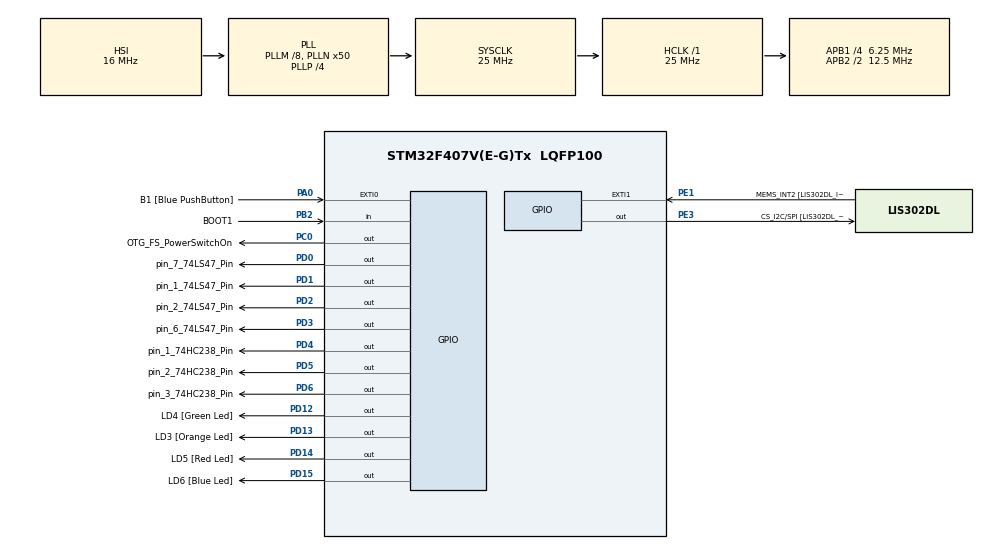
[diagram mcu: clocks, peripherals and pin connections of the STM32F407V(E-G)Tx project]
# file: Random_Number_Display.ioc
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Mcu.Family=STM32F4
PA11.GPIO_Speed=GPIO_SPEED_FREQ_LOW
PC3.GPIO_Mode=GPIO_MODE_AF_PP
PD12.GPIO_Label=LD4 [Green Led]
PH0-OSC_IN.Signal=RCC_OSC_IN
RCC.CortexFreq_Value=25000000
PC10.GPIO_PuPd=GPIO_NOPULL
PB10.GPIO_Speed=GPIO_SPEED_FREQ_LOW
PB6.GPIO_Mode=GPIO_MODE_AF_OD
PB10.GPIO_PuPd=GPIO_NOPULL
PA10.GPIO_PuPd=GPIO_NOPULL
PD15.GPIO_Speed=GPIO_SPEED_FREQ_LOW
PC10.Signal=I2S3_CK
PC12.Signal=I2S3_SD
PA14.GPIO_Label=SWCLK
PA7.GPIO_Mode=GPIO_MODE_AF_PP
PC0.GPIO_Label=OTG_FS_PowerSwitchOn
PD0.GPIO_Label=pin_7_74LS47_Pin
PA6.GPIO_Label=SPI1_MISO [LIS302DL_SDO]
PB6.GPIO_Label=Audio_SCL [CS43L22_SCL]
PC10.GPIO_Speed=GPIO_SPEED_FREQ_LOW
PA11.GPIO_PuPd=GPIO_NOPULL
PD6.GPIO_Label=pin_3_74HC238_Pin
PC15-OSC32_OUT.GPIO_Label=PC15-OSC32_OUT
PC3.GPIO_Speed=GPIO_SPEED_FREQ_LOW
RCC.SYSCLKSource=RCC_SYSCLKSOURCE_PLLCLK
ProjectManager.StackSize=0x400
PA6.GPIO_Mode=GPIO_MODE_AF_PP
PD13.Signal=GPIO_Output
PD14.GPIO_Speed=GPIO_SPEED_FREQ_LOW
PA12.Signal=USB_OTG_FS_DP
RCC.HCLKFreq_Value=25000000
PD4.Signal=GPIO_Output
RCC.APB2TimFreq_Value=25000000
PB6.Signal=I2C1_SCL
PC7.Signal=I2S3_MCK
PC3.Signal=I2S2_SD
PD0.Signal=GPIO_Output
PE1.Signal=GPXTI1
RCC.AHBFreq_Value=25000000
PH0-OSC_IN.GPIO_Label=PH0-OSC_IN
PA9.GPIO_Mode=GPIO_MODE_INPUT
RCC.HSE_VALUE=8000000
PA4.GPIO_PuPd=GPIO_NOPULL
PB2.Signal=GPIO_Input
PA4.GPIO_Speed=GPIO_SPEED_FREQ_LOW
PD1.GPIO_Label=pin_1_74LS47_Pin
PA6.GPIO_PuPd=GPIO_NOPULL
PA5.GPIO_PuPd=GPIO_NOPULL
PA10.GPIO_Label=OTG_FS_ID
PC7.GPIO_Mode=GPIO_MODE_AF_PP
PD14.GPIO_PuPd=GPIO_NOPULL
PB2.GPIO_PuPd=GPIO_NOPULL
PD13.GPIO_Label=LD3 [Orange Led]
Mcu.Package=LQFP100
PB9.Signal=I2C1_SDA
PA6.Signal=SPI1_MISO
PD12.Signal=GPIO_Output
PD5.GPIO_Label=pin_2_74HC238_Pin
PD15.GPIO_PuPd=GPIO_NOPULL
PA10.Signal=USB_OTG_FS_ID
PB9.GPIO_PuPd=GPIO_NOPULL
PA10.GPIO_Speed=GPIO_SPEED_FREQ_LOW
RCC.APB2CLKDivider=RCC_HCLK_DIV2
PB9.GPIO_Speed=GPIO_SPEED_FREQ_LOW
RCC.APB1TimFreq_Value=12500000
PC14-OSC32_IN.GPIO_Label=PC14-OSC32_IN
PD3.GPIO_Label=pin_6_74LS47_Pin
PC12.GPIO_PuPd=GPIO_NOPULL
PD3.GPIO_PuPd=GPIO_PULLDOWN
PA6.GPIO_Speed=GPIO_SPEED_FREQ_LOW
PC0.GPIO_PuPd=GPIO_NOPULL
PA12.GPIO_PuPd=GPIO_NOPULL
PD6.Signal=GPIO_Output
PA4.GPIO_Label=I2S3_WS [CS43L22_LRCK]
PD15.Signal=GPIO_Output
PC0.PinState=GPIO_PIN_SET
PA12.GPIO_Speed=GPIO_SPEED_FREQ_LOW
PB3.GPIO_Label=SWO
PD12.GPIO_Speed=GPIO_SPEED_FREQ_LOW
PD15.GPIO_Label=LD6 [Blue Led]
PB9.GPIO_Label=Audio_SDA [CS43L22_SDA]
PC10.GPIO_Label=I2S3_SCK [CS43L22_SCLK]
PD2.GPIO_PuPd=GPIO_PULLDOWN
PA9.GPIO_Label=VBUS_FS
PB6.GPIO_PuPd=GPIO_NOPULL
PD3.Signal=GPIO_Output
PD1.Signal=GPIO_Output
PA11.GPIO_Label=OTG_FS_DM
PE1.GPIO_PuPd=GPIO_NOPULL
PD5.Signal=GPIO_Output
PD1.GPIO_PuPd=GPIO_PULLDOWN
PC0.Signal=GPIO_Output
PE1.GPIO_ModeDefaultEXTI=GPIO_MODE_EVT_RISING
RCC.APB1CLKDivider=RCC_HCLK_DIV4
PC14-OSC32_IN.Signal=RCC_OSC32_IN
PA9.GPIO_PuPd=GPIO_NOPULL
PA12.GPIO_Label=OTG_FS_DP
PA0-WKUP.GPIO_Label=B1 [Blue PushButton]
PA0-WKUP.Signal=GPXTI0
PA10.GPIO_Mode=GPIO_MODE_AF_PP
PA13.Signal=SYS_JTMS-SWDIO
PC10.GPIO_Mode=GPIO_MODE_AF_PP
PD4.GPIO_PuPd=GPIO_PULLDOWN
PC0.GPIO_Speed=GPIO_SPEED_FREQ_LOW
PB10.GPIO_Mode=GPIO_MODE_AF_PP
ProjectManager.TargetToolchain=STM32CubeIDE
PB10.GPIO_Label=CLK_IN [MP45DT02_CLK]
PA9.Signal=USB_OTG_FS_VBUS
PC7.GPIO_PuPd=GPIO_NOPULL
RCC.LSE_VALUE=32768
PC15-OSC32_OUT.Signal=RCC_OSC32_OUT
PA7.GPIO_PuPd=GPIO_NOPULL
PB10.Signal=I2S2_CK
PA5.Signal=SPI1_SCK
board=STM32F407G-DISC1
PD13.GPIO_Speed=GPIO_SPEED_FREQ_LOW
PC7.GPIO_Speed=GPIO_SPEED_FREQ_LOW
RCC.VCOOutputFreq_Value=100000000
PE1.GPIO_Label=MEMS_INT2 [LIS302DL_INT2]
PA7.GPIO_Speed=GPIO_SPEED_FREQ_LOW
PB9.GPIO_Mode=GPIO_MODE_AF_OD
PA12.GPIO_Mode=GPIO_MODE_AF_PP
PA4.GPIO_Mode=GPIO_MODE_AF_PP
RCC.APB2Freq_Value=12500000
PB2.GPIO_Mode=GPIO_MODE_INPUT
PD4.GPIO_Label=pin_1_74HC238_Pin
PE3.GPIO_PuPd=GPIO_NOPULL
PH1-OSC_OUT.Signal=RCC_OSC_OUT
PD13.GPIO_PuPd=GPIO_NOPULL
PD5.GPIO_PuPd=GPIO_PULLDOWN
PD14.GPIO_Label=LD5 [Red Led]
PH1-OSC_OUT.GPIO_Label=PH1-OSC_OUT
Mcu.Name=STM32F407V(E-G)Tx
PA13.GPIO_Label=SWDIO
PC7.GPIO_Label=I2S3_MCK [CS43L22_MCLK]
PD14.Signal=GPIO_Output
RCC.48MHZClocksFreq_Value=14285714.285714285
PB3.Signal=SYS_JTDO-SWO
NVIC.EXTI0_IRQn=true\:0\:0\:false\:false\:true\:true\:true
PA4.Signal=I2S3_WS
RCC.SYSCLKFreq_VALUE=25000000
PC12.GPIO_Mode=GPIO_MODE_AF_PP
PA7.GPIO_Label=SPI1_MOSI [LIS302DL_SDA/SDI/SDO]
PA5.GPIO_Label=SPI1_SCK [LIS302DL_SCL/SPC]
PE3.GPIO_Speed=GPIO_SPEED_FREQ_LOW
PC12.GPIO_Label=I2S3_SD [CS43L22_SDIN]
PA11.Signal=USB_OTG_FS_DM
PA14.Signal=SYS_JTCK-SWCLK
PB2.GPIO_Label=BOOT1
ProjectManager.HeapSize=0x200
PD0.GPIO_PuPd=GPIO_PULLDOWN
RCC.HSI_VALUE=16000000
RCC.PLLP=RCC_PLLP_DIV4
PA5.GPIO_Speed=GPIO_SPEED_FREQ_LOW
RCC.PLLQ=7
NVIC.PriorityGroup=NVIC_PRIORITYGROUP_0
RCC.PLLM=8
RCC.PLLN=50
PE3.Signal=GPIO_Output
PE3.GPIO_Label=CS_I2C/SPI [LIS302DL_CS_I2C/SPI]
PC3.GPIO_Label=PDM_OUT [MP45DT02_DOUT]
PA11.GPIO_Mode=GPIO_MODE_AF_PP
PD2.Signal=GPIO_Output
PB6.GPIO_Speed=GPIO_SPEED_FREQ_LOW
RCC.APB1Freq_Value=6250000
PA5.GPIO_Mode=GPIO_MODE_AF_PP
PC12.GPIO_Speed=GPIO_SPEED_FREQ_LOW
PD2.GPIO_Label=pin_2_74LS47_Pin
PC3.GPIO_PuPd=GPIO_NOPULL
PD12.GPIO_PuPd=GPIO_NOPULL
PD6.GPIO_PuPd=GPIO_PULLDOWN
PA7.Signal=SPI1_MOSI

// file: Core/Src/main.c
/* USER CODE BEGIN Header */
/**
  ******************************************************************************
  * @file           : main.c
  * @brief          : Main program body
  ******************************************************************************
  * @attention
  *
  * <h2><center>&copy; Copyright (c) 2021 STMicroelectronics.
  * All rights reserved.</center></h2>
  *
  * This software component is licensed by ST under BSD 3-Clause license,
  * the "License"; You may not use this file except in compliance with the
  * License. You may obtain a copy of the License at:
  *                        opensource.org/licenses/BSD-3-Clause
  *
  ******************************************************************************
  */
/* USER CODE END Header */
#include "main.h"

/* USER CODE BEGIN Includes */
#include <math.h>
#include <stdlib.h>
/* USER CODE END Includes */

/* USER CODE BEGIN PV */
int D1=0x70 ;//Y7
int D2=0x60;
int D3=0x50;
int D4=0x40;
int D5=0x30;
int D6=0x20;
int D7=0x10;
int D8=0x00; //Y0
int dn=0;
int numeros[10]={0x0,0x01,0x2,0x3,0x4,0x5,0x6,0x7,0x8,0x9};
unsigned short tiempoDebounce = 100;
unsigned int tickAnterior = 0;
/* USER CODE END PV */

void SystemClock_Config(void);
static void MX_GPIO_Init(void);
/* USER CODE BEGIN PFP */
void displayNumber(int numero);
void setDisplay(int dig1, int dig2, int dig3, int dig4, int dig5, int dig6, int dig7, int dig8);
/* USER CODE END PFP */

/* USER CODE BEGIN 0 */
void displayNumber (int count){
	int dig1,dig2,dig3,dig4,dig5,dig6,dig7,dig8;
	dig1=count%10; //almacenar el 1
	dig2=(count%100)/10; //almacenar el 2
	dig3=(count%1000)/100; //almacenar el 3
	dig4=(count%10000)/1000; //almacenar el 4
	dig5=(count%100000)/10000; //almacenar el 5
	dig6=(count%1000000)/100000; //almacenar el 6
	dig7=(count%10000000)/1000000; //almacenar el 7
	dig8=(count%100000000)/10000000; //almacenar el 8
	setDisplay(dig1,dig2,dig3,dig4,dig5,dig6,dig7,dig8);
}

void setDisplay(int dig1, int dig2, int dig3, int dig4, int dig5, int dig6, int dig7, int dig8){
	GPIOD->ODR=numeros[dig1]+D1;
	HAL_Delay(1);
	GPIOD->ODR=numeros[dig2]+D2;
	HAL_Delay(1);
	GPIOD->ODR=numeros[dig3]+D3;
	HAL_Delay(1);
	GPIOD->ODR=numeros[dig4]+D4;
	HAL_Delay(1);
	GPIOD->ODR=numeros[dig5]+D5;
	HAL_Delay(1);
	GPIOD->ODR=numeros[dig6]+D6;
	HAL_Delay(1);
	GPIOD->ODR=numeros[dig7]+D7;
	HAL_Delay(1);
	GPIOD->ODR=numeros[dig8]+D8;
	HAL_Delay(1);
}
/* USER CODE END 0 */

int main(void)
{

  /* MCU Configuration--------------------------------------------------------*/

  /* Reset of all peripherals, Initializes the Flash interface and the Systick. */
  HAL_Init();

  /* Configure the system clock */
  SystemClock_Config();

  /* Initialize all configured peripherals */
  MX_GPIO_Init();

  /* Infinite loop */
  while (1)
  {

    /* USER CODE BEGIN 3 */
	  displayNumber(dn);
	  HAL_Delay(1);
  }
  /* USER CODE END 3 */
}

void SystemClock_Config(void)
{
  RCC_OscInitTypeDef RCC_OscInitStruct = {0};
  RCC_ClkInitTypeDef RCC_ClkInitStruct = {0};

  /** Configure the main internal regulator output voltage
  */
  __HAL_RCC_PWR_CLK_ENABLE();
  __HAL_PWR_VOLTAGESCALING_CONFIG(PWR_REGULATOR_VOLTAGE_SCALE1);
  /** Initializes the RCC Oscillators according to the specified parameters
  * in the RCC_OscInitTypeDef structure.
  */
  RCC_OscInitStruct.OscillatorType = RCC_OSCILLATORTYPE_HSI;
  RCC_OscInitStruct.HSIState = RCC_HSI_ON;
  RCC_OscInitStruct.HSICalibrationValue = RCC_HSICALIBRATION_DEFAULT;
  RCC_OscInitStruct.PLL.PLLState = RCC_PLL_ON;
  RCC_OscInitStruct.PLL.PLLSource = RCC_PLLSOURCE_HSI;
  RCC_OscInitStruct.PLL.PLLM = 8;
  RCC_OscInitStruct.PLL.PLLN = 50;
  RCC_OscInitStruct.PLL.PLLP = RCC_PLLP_DIV4;
  RCC_OscInitStruct.PLL.PLLQ = 7;
  if (HAL_RCC_OscConfig(&RCC_OscInitStruct) != HAL_OK)
  {
    Error_Handler();
  }
  /** Initializes the CPU, AHB and APB buses clocks
  */
  RCC_ClkInitStruct.ClockType = RCC_CLOCKTYPE_HCLK|RCC_CLOCKTYPE_SYSCLK
                              |RCC_CLOCKTYPE_PCLK1|RCC_CLOCKTYPE_PCLK2;
  RCC_ClkInitStruct.SYSCLKSource = RCC_SYSCLKSOURCE_PLLCLK;
  RCC_ClkInitStruct.AHBCLKDivider = RCC_SYSCLK_DIV1;
  RCC_ClkInitStruct.APB1CLKDivider = RCC_HCLK_DIV4;
  RCC_ClkInitStruct.APB2CLKDivider = RCC_HCLK_DIV2;

  if (HAL_RCC_ClockConfig(&RCC_ClkInitStruct, FLASH_LATENCY_0) != HAL_OK)
  {
    Error_Handler();
  }
}

static void MX_GPIO_Init(void)
{
  GPIO_InitTypeDef GPIO_InitStruct = {0};

  /* GPIO Ports Clock Enable */
  __HAL_RCC_GPIOE_CLK_ENABLE();
  __HAL_RCC_GPIOC_CLK_ENABLE();
  __HAL_RCC_GPIOH_CLK_ENABLE();
  __HAL_RCC_GPIOA_CLK_ENABLE();
  __HAL_RCC_GPIOB_CLK_ENABLE();
  __HAL_RCC_GPIOD_CLK_ENABLE();

  /*Configure GPIO pin Output Level */
  HAL_GPIO_WritePin(CS_I2C_SPI_GPIO_Port, CS_I2C_SPI_Pin, GPIO_PIN_RESET);

  /*Configure GPIO pin Output Level */
  HAL_GPIO_WritePin(OTG_FS_PowerSwitchOn_GPIO_Port, OTG_FS_PowerSwitchOn_Pin, GPIO_PIN_SET);

  /*Configure GPIO pin Output Level */
  HAL_GPIO_WritePin(GPIOD, LD4_Pin|LD3_Pin|LD5_Pin|LD6_Pin
                          |pin_7_74LS47_Pin_Pin|pin_1_74LS47_Pin_Pin|pin_2_74LS47_Pin_Pin|pin_6_74LS47_Pin_Pin
                          |pin_1_74HC238_Pin_Pin|pin_2_74HC238_Pin_Pin|pin_3_74HC238_Pin_Pin, GPIO_PIN_RESET);

  /*Configure GPIO pin : CS_I2C_SPI_Pin */
  GPIO_InitStruct.Pin = CS_I2C_SPI_Pin;
  GPIO_InitStruct.Mode = GPIO_MODE_OUTPUT_PP;
  GPIO_InitStruct.Pull = GPIO_NOPULL;
  GPIO_InitStruct.Speed = GPIO_SPEED_FREQ_LOW;
  HAL_GPIO_Init(CS_I2C_SPI_GPIO_Port, &GPIO_InitStruct);

  /*Configure GPIO pin : OTG_FS_PowerSwitchOn_Pin */
  GPIO_InitStruct.Pin = OTG_FS_PowerSwitchOn_Pin;
  GPIO_InitStruct.Mode = GPIO_MODE_OUTPUT_PP;
  GPIO_InitStruct.Pull = GPIO_NOPULL;
  GPIO_InitStruct.Speed = GPIO_SPEED_FREQ_LOW;
  HAL_GPIO_Init(OTG_FS_PowerSwitchOn_GPIO_Port, &GPIO_InitStruct);

  /*Configure GPIO pin : PDM_OUT_Pin */
  GPIO_InitStruct.Pin = PDM_OUT_Pin;
  GPIO_InitStruct.Mode = GPIO_MODE_AF_PP;
  GPIO_InitStruct.Pull = GPIO_NOPULL;
  GPIO_InitStruct.Speed = GPIO_SPEED_FREQ_LOW;
  GPIO_InitStruct.Alternate = GPIO_AF5_SPI2;
  HAL_GPIO_Init(PDM_OUT_GPIO_Port, &GPIO_InitStruct);

  /*Configure GPIO pin : B1_Pin */
  GPIO_InitStruct.Pin = B1_Pin;
  GPIO_InitStruct.Mode = GPIO_MODE_IT_RISING;
  GPIO_InitStruct.Pull = GPIO_NOPULL;
  HAL_GPIO_Init(B1_GPIO_Port, &GPIO_InitStruct);

  /*Configure GPIO pin : I2S3_WS_Pin */
  GPIO_InitStruct.Pin = I2S3_WS_Pin;
  GPIO_InitStruct.Mode = GPIO_MODE_AF_PP;
  GPIO_InitStruct.Pull = GPIO_NOPULL;
  GPIO_InitStruct.Speed = GPIO_SPEED_FREQ_LOW;
  GPIO_InitStruct.Alternate = GPIO_AF6_SPI3;
  HAL_GPIO_Init(I2S3_WS_GPIO_Port, &GPIO_InitStruct);

  /*Configure GPIO pins : SPI1_SCK_Pin SPI1_MISO_Pin SPI1_MOSI_Pin */
  GPIO_InitStruct.Pin = SPI1_SCK_Pin|SPI1_MISO_Pin|SPI1_MOSI_Pin;
  GPIO_InitStruct.Mode = GPIO_MODE_AF_PP;
  GPIO_InitStruct.Pull = GPIO_NOPULL;
  GPIO_InitStruct.Speed = GPIO_SPEED_FREQ_LOW;
  GPIO_InitStruct.Alternate = GPIO_AF5_SPI1;
  HAL_GPIO_Init(GPIOA, &GPIO_InitStruct);

  /*Configure GPIO pin : BOOT1_Pin */
  GPIO_InitStruct.Pin = BOOT1_Pin;
  GPIO_InitStruct.Mode = GPIO_MODE_INPUT;
  GPIO_InitStruct.Pull = GPIO_NOPULL;
  HAL_GPIO_Init(BOOT1_GPIO_Port, &GPIO_InitStruct);

  /*Configure GPIO pin : CLK_IN_Pin */
  GPIO_InitStruct.Pin = CLK_IN_Pin;
  GPIO_InitStruct.Mode = GPIO_MODE_AF_PP;
  GPIO_InitStruct.Pull = GPIO_NOPULL;
  GPIO_InitStruct.Speed = GPIO_SPEED_FREQ_LOW;
  GPIO_InitStruct.Alternate = GPIO_AF5_SPI2;
  HAL_GPIO_Init(CLK_IN_GPIO_Port, &GPIO_InitStruct);

  /*Configure GPIO pins : LD4_Pin LD3_Pin LD5_Pin LD6_Pin */
  GPIO_InitStruct.Pin = LD4_Pin|LD3_Pin|LD5_Pin|LD6_Pin;
  GPIO_InitStruct.Mode = GPIO_MODE_OUTPUT_PP;
  GPIO_InitStruct.Pull = GPIO_NOPULL;
  GPIO_InitStruct.Speed = GPIO_SPEED_FREQ_LOW;
  HAL_GPIO_Init(GPIOD, &GPIO_InitStruct);

  /*Configure GPIO pins : I2S3_MCK_Pin I2S3_SCK_Pin I2S3_SD_Pin */
  GPIO_InitStruct.Pin = I2S3_MCK_Pin|I2S3_SCK_Pin|I2S3_SD_Pin;
  GPIO_InitStruct.Mode = GPIO_MODE_AF_PP;
  GPIO_InitStruct.Pull = GPIO_NOPULL;
  GPIO_InitStruct.Speed = GPIO_SPEED_FREQ_LOW;
  GPIO_InitStruct.Alternate = GPIO_AF6_SPI3;
  HAL_GPIO_Init(GPIOC, &GPIO_InitStruct);

  /*Configure GPIO pin : VBUS_FS_Pin */
  GPIO_InitStruct.Pin = VBUS_FS_Pin;
  GPIO_InitStruct.Mode = GPIO_MODE_INPUT;
  GPIO_InitStruct.Pull = GPIO_NOPULL;
  HAL_GPIO_Init(VBUS_FS_GPIO_Port, &GPIO_InitStruct);

  /*Configure GPIO pins : OTG_FS_ID_Pin OTG_FS_DM_Pin OTG_FS_DP_Pin */
  GPIO_InitStruct.Pin = OTG_FS_ID_Pin|OTG_FS_DM_Pin|OTG_FS_DP_Pin;
  GPIO_InitStruct.Mode = GPIO_MODE_AF_PP;
  GPIO_InitStruct.Pull = GPIO_NOPULL;
  GPIO_InitStruct.Speed = GPIO_SPEED_FREQ_LOW;
  GPIO_InitStruct.Alternate = GPIO_AF10_OTG_FS;
  HAL_GPIO_Init(GPIOA, &GPIO_InitStruct);

  /*Configure GPIO pins : pin_7_74LS47_Pin_Pin pin_1_74LS47_Pin_Pin pin_2_74LS47_Pin_Pin pin_6_74LS47_Pin_Pin
                           pin_1_74HC238_Pin_Pin pin_2_74HC238_Pin_Pin pin_3_74HC238_Pin_Pin */
  GPIO_InitStruct.Pin = pin_7_74LS47_Pin_Pin|pin_1_74LS47_Pin_Pin|pin_2_74LS47_Pin_Pin|pin_6_74LS47_Pin_Pin
                          |pin_1_74HC238_Pin_Pin|pin_2_74HC238_Pin_Pin|pin_3_74HC238_Pin_Pin;
  GPIO_InitStruct.Mode = GPIO_MODE_OUTPUT_PP;
  GPIO_InitStruct.Pull = GPIO_PULLDOWN;
  GPIO_InitStruct.Speed = GPIO_SPEED_FREQ_LOW;
  HAL_GPIO_Init(GPIOD, &GPIO_InitStruct);

  /*Configure GPIO pins : Audio_SCL_Pin Audio_SDA_Pin */
  GPIO_InitStruct.Pin = Audio_SCL_Pin|Audio_SDA_Pin;
  GPIO_InitStruct.Mode = GPIO_MODE_AF_OD;
  GPIO_InitStruct.Pull = GPIO_PULLUP;
  GPIO_InitStruct.Speed = GPIO_SPEED_FREQ_LOW;
  GPIO_InitStruct.Alternate = GPIO_AF4_I2C1;
  HAL_GPIO_Init(GPIOB, &GPIO_InitStruct);

  /*Configure GPIO pin : MEMS_INT2_Pin */
  GPIO_InitStruct.Pin = MEMS_INT2_Pin;
  GPIO_InitStruct.Mode = GPIO_MODE_EVT_RISING;
  GPIO_InitStruct.Pull = GPIO_NOPULL;
  HAL_GPIO_Init(MEMS_INT2_GPIO_Port, &GPIO_InitStruct);

  /* EXTI interrupt init*/
  HAL_NVIC_SetPriority(EXTI0_IRQn, 0, 0);
  HAL_NVIC_EnableIRQ(EXTI0_IRQn);

}

/* USER CODE BEGIN 4 */
void HAL_GPIO_EXTI_Callback(uint16_t GPIO_Pin)
{
  /* Prevent unused argument(s) compilation warning */
  UNUSED(GPIO_Pin);
  if(GPIO_Pin == GPIO_PIN_0){
	  if((HAL_GetTick() - tickAnterior) > tiempoDebounce){
		  unsigned int se = HAL_GetTick();
		  srand(se);
		  dn= rand() % 100000000;
		  tickAnterior = HAL_GetTick();
	  }
	}

}
/* USER CODE END 4 */

void Error_Handler(void)
{
  __disable_irq();
  while (1)
  {
  }
}

/************************ (C) COPYRIGHT STMicroelectronics *****END OF FILE****/
